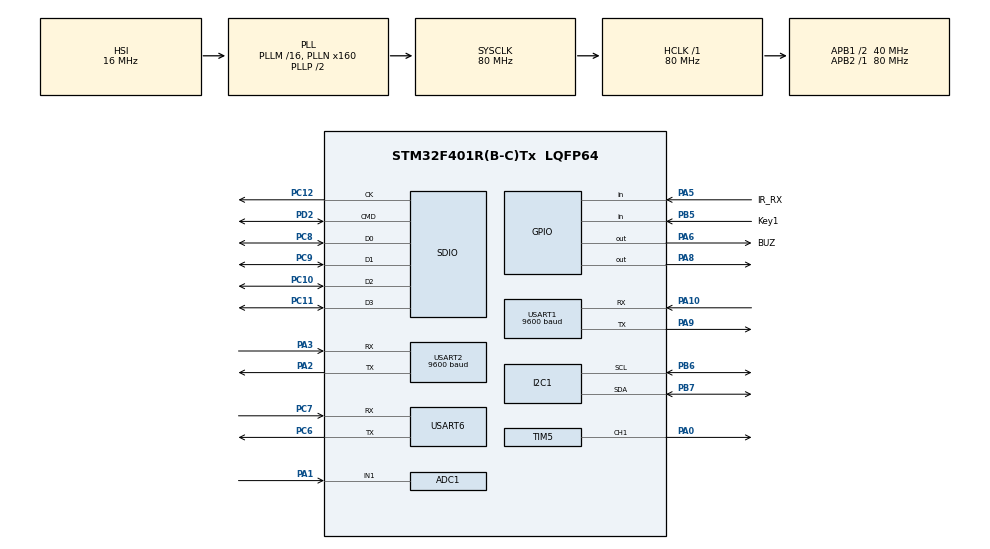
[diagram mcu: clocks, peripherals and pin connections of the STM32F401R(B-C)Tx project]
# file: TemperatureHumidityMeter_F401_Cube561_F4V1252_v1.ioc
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ADC1.Channel-4\#ChannelRegularConversion=ADC_CHANNEL_1
ADC1.Channel-5\#ChannelRegularConversion=ADC_CHANNEL_VREFINT
ADC1.ClockPrescaler=ADC_CLOCK_SYNC_PCLK_DIV8
ADC1.DMAContinuousRequests=ENABLE
ADC1.NbrOfConversion=2
ADC1.NbrOfConversionFlag=1
ADC1.Rank-4\#ChannelRegularConversion=1
ADC1.Rank-5\#ChannelRegularConversion=2
ADC1.SamplingTime-4\#ChannelRegularConversion=ADC_SAMPLETIME_480CYCLES
ADC1.SamplingTime-5\#ChannelRegularConversion=ADC_SAMPLETIME_480CYCLES
ADC1.ScanConvMode=ENABLE
ADC1.master=1
Dma.ADC1.0.Direction=DMA_PERIPH_TO_MEMORY
Dma.ADC1.0.FIFOMode=DMA_FIFOMODE_DISABLE
Dma.ADC1.0.Instance=DMA2_Stream0
Dma.ADC1.0.MemDataAlignment=DMA_MDATAALIGN_WORD
Dma.ADC1.0.MemInc=DMA_MINC_ENABLE
Dma.ADC1.0.Mode=DMA_NORMAL
Dma.ADC1.0.PeriphDataAlignment=DMA_PDATAALIGN_WORD
Dma.ADC1.0.PeriphInc=DMA_PINC_DISABLE
Dma.ADC1.0.Priority=DMA_PRIORITY_LOW
Dma.Request0=ADC1
Dma.Request1=SDIO_RX
Dma.Request2=SDIO_TX
Dma.SDIO_RX.1.Direction=DMA_PERIPH_TO_MEMORY
Dma.SDIO_RX.1.FIFOMode=DMA_FIFOMODE_ENABLE
Dma.SDIO_RX.1.FIFOThreshold=DMA_FIFO_THRESHOLD_FULL
Dma.SDIO_RX.1.Instance=DMA2_Stream3
Dma.SDIO_RX.1.MemBurst=DMA_MBURST_INC4
Dma.SDIO_RX.1.MemDataAlignment=DMA_MDATAALIGN_WORD
Dma.SDIO_RX.1.MemInc=DMA_MINC_ENABLE
Dma.SDIO_RX.1.Mode=DMA_PFCTRL
Dma.SDIO_RX.1.PeriphBurst=DMA_PBURST_INC4
Dma.SDIO_RX.1.PeriphDataAlignment=DMA_PDATAALIGN_WORD
Dma.SDIO_RX.1.PeriphInc=DMA_PINC_DISABLE
Dma.SDIO_RX.1.Priority=DMA_PRIORITY_VERY_HIGH
Dma.SDIO_TX.2.Direction=DMA_MEMORY_TO_PERIPH
Dma.SDIO_TX.2.FIFOMode=DMA_FIFOMODE_ENABLE
Dma.SDIO_TX.2.FIFOThreshold=DMA_FIFO_THRESHOLD_FULL
Dma.SDIO_TX.2.Instance=DMA2_Stream6
Dma.SDIO_TX.2.MemBurst=DMA_MBURST_INC4
Dma.SDIO_TX.2.MemDataAlignment=DMA_MDATAALIGN_WORD
Dma.SDIO_TX.2.MemInc=DMA_MINC_ENABLE
Dma.SDIO_TX.2.Mode=DMA_PFCTRL
Dma.SDIO_TX.2.PeriphBurst=DMA_PBURST_INC4
Dma.SDIO_TX.2.PeriphDataAlignment=DMA_PDATAALIGN_WORD
Dma.SDIO_TX.2.PeriphInc=DMA_PINC_DISABLE
Dma.SDIO_TX.2.Priority=DMA_PRIORITY_VERY_HIGH
Mcu.Family=STM32F4
Mcu.Name=STM32F401R(B-C)Tx
Mcu.Package=LQFP64
NVIC.ADC_IRQn=true\:6\:0\:true\:false\:true\:true\:true
NVIC.DMA2_Stream0_IRQn=true\:5\:0\:true\:false\:true\:false\:true
NVIC.DMA2_Stream3_IRQn=true\:4\:0\:true\:false\:true\:false\:true
NVIC.DMA2_Stream6_IRQn=true\:4\:0\:true\:false\:true\:false\:true
NVIC.PriorityGroup=NVIC_PRIORITYGROUP_4
NVIC.SDIO_IRQn=true\:3\:0\:true\:false\:true\:true\:true
NVIC.TIM1_UP_TIM10_IRQn=true\:7\:0\:true\:false\:true\:true\:true
NVIC.TIM2_IRQn=true\:2\:0\:true\:false\:true\:true\:true
NVIC.USART1_IRQn=true\:5\:0\:true\:false\:true\:true\:true
NVIC.USART2_IRQn=true\:7\:0\:true\:false\:true\:true\:true
NVIC.USART6_IRQn=true\:6\:0\:true\:false\:true\:true\:true
PA0-WKUP.Signal=S_TIM5_CH1
PA1.Signal=ADCx_IN1
PA10.Mode=Asynchronous
PA10.Signal=USART1_RX
PA13.Mode=JTAG_5_pins
PA13.Signal=SYS_JTMS-SWDIO
PA14.Mode=JTAG_5_pins
PA14.Signal=SYS_JTCK-SWCLK
PA15.Mode=JTAG_5_pins
PA15.Signal=SYS_JTDI
PA2.Mode=Asynchronous
PA2.Signal=USART2_TX
PA3.Mode=Asynchronous
PA3.Signal=USART2_RX
PA5.GPIO_Label=IR_RX
PA5.GPIO_PuPd=GPIO_PULLUP
PA5.Signal=GPIO_Input
PA6.GPIO_Label=BUZ
PA6.GPIO_ModeDefaultOutputPP=GPIO_MODE_OUTPUT_PP
PA6.GPIO_PuPd=GPIO_NOPULL
PA6.GPIO_Speed=GPIO_SPEED_FREQ_LOW
PA6.PinState=GPIO_PIN_RESET
PA6.Signal=GPIO_Output
PA8.Signal=GPIO_Output
PA9.Mode=Asynchronous
PA9.Signal=USART1_TX
PB3.Mode=JTAG_5_pins
PB3.Signal=SYS_JTDO-SWO
PB4.Mode=JTAG_5_pins
PB4.Signal=SYS_JTRST
PB5.GPIO_Label=Key1
PB5.GPIO_PuPd=GPIO_PULLUP
PB5.Signal=GPIO_Input
PB6.Mode=I2C
PB6.Signal=I2C1_SCL
PB7.Mode=I2C
PB7.Signal=I2C1_SDA
PC10.Mode=SD_4_bits_Wide_bus
PC10.Signal=SDIO_D2
PC11.Mode=SD_4_bits_Wide_bus
PC11.Signal=SDIO_D3
PC12.Mode=SD_4_bits_Wide_bus
PC12.Signal=SDIO_CK
PC6.Mode=Asynchronous
PC6.Signal=USART6_TX
PC7.Mode=Asynchronous
PC7.Signal=USART6_RX
PC8.Mode=SD_4_bits_Wide_bus
PC8.Signal=SDIO_D0
PC9.Mode=SD_4_bits_Wide_bus
PC9.Signal=SDIO_D1
PD2.Mode=SD_4_bits_Wide_bus
PD2.Signal=SDIO_CMD
PH0\ -\ OSC_IN.Mode=HSE-External-Oscillator
PH0\ -\ OSC_IN.Signal=RCC_OSC_IN
PH1\ -\ OSC_OUT.Mode=HSE-External-Oscillator
PH1\ -\ OSC_OUT.Signal=RCC_OSC_OUT
ProjectManager.HeapSize=0x200
ProjectManager.StackSize=0x400
ProjectManager.TargetToolchain=MDK-ARM V5
RCC.48MHZClocksFreq_Value=40000000
RCC.AHBFreq_Value=80000000
RCC.APB1CLKDivider=RCC_HCLK_DIV2
RCC.APB1Freq_Value=40000000
RCC.APB1TimFreq_Value=80000000
RCC.APB2Freq_Value=80000000
RCC.APB2TimFreq_Value=80000000
RCC.CortexFreq_Value=80000000
RCC.HCLKFreq_Value=80000000
RCC.HSE_VALUE=16000000
RCC.HSI_VALUE=16000000
RCC.LSE_VALUE=32768
RCC.PLLN=160
RCC.SYSCLKFreq_VALUE=80000000
RCC.SYSCLKSource=RCC_SYSCLKSOURCE_PLLCLK
RCC.VCOOutputFreq_Value=160000000
RTC.Format=RTC_FORMAT_BIN
SH.ADCx_IN1.0=ADC1_IN1,IN1
SH.S_TIM5_CH1.0=TIM5_CH1,PWM Generation1 CH1
TIM10.Period=99
TIM10.Prescaler=799
TIM2.Period=19
TIM2.Prescaler=79
TIM5.Channel-PWM\ Generation1\ CH1=TIM_CHANNEL_1
TIM5.Period=25
TIM5.Prescaler=79
TIM5.Pulse-PWM\ Generation1\ CH1=9
USART1.BaudRate=9600
USART1.VirtualMode=VM_ASYNC
USART2.BaudRate=9600
USART2.VirtualMode=VM_ASYNC
USART6.VirtualMode=VM_ASYNC
VP_ADC1_Vref_Input.Mode=IN-Vrefint
VP_RTC_VS_RTC_Activate.Mode=RTC_Enabled
VP_RTC_VS_RTC_Calendar.Mode=RTC_Calendar
VP_TIM10_VS_ClockSourceINT.Mode=Enable_Timer
VP_TIM2_VS_ClockSourceINT.Mode=Internal
VP_TIM5_VS_ClockSourceINT.Mode=Internal
board=custom

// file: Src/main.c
/* USER CODE BEGIN Header */
/**
  ******************************************************************************
  * @file           : main.c
  * @brief          : Main program body
  ******************************************************************************
  * @attention
  *
  * <h2><center>&copy; Copyright (c) 2021 STMicroelectronics.
  * All rights reserved.</center></h2>
  *
  * This software component is licensed by ST under BSD 3-Clause license,
  * the "License"; You may not use this file except in compliance with the
  * License. You may obtain a copy of the License at:
  *                        opensource.org/licenses/BSD-3-Clause
  *
  ******************************************************************************
  */
/* USER CODE END Header */

#include "main.h"
#include "adc.h"
#include "dma.h"
#include "i2c.h"
#include "rtc.h"
#include "sdio.h"
#include "tim.h"
#include "usart.h"
#include "gpio.h"

/* USER CODE BEGIN Includes */
#include "stdio.h"
#include "string.h"
#include "sht30_i2c_drv.h"
#include "tf_sdio_drv.h"
#include "wifi.h"
#include "IR_Rx_drv.h"
#include "IR_Rx_parse.h"
#include "IR_Tx_app.h"
/* USER CODE END Includes */

/* USER CODE BEGIN PTD */
unsigned char myStrnCmp(unsigned char *str1, unsigned char *str2, unsigned long str_len);
unsigned long MySizeof(unsigned char * buff);
extern void IR_RX_Init(void);
/* USER CODE END PTD */

/* USER CODE BEGIN PV */
extern unsigned long Time2_i;
unsigned long Time10_i = 0;
unsigned long Led_i = 0;
unsigned long Print_i = 0;

unsigned char *Usart1DataAdr;
unsigned char Usart1DataLen;
extern unsigned char Usart1RxBuff;
extern UART_IRQ_RX_Handler Usart1Rx;

unsigned char *Usart2DataAdr;
unsigned char Usart2DataLen;
extern unsigned char Usart2RxBuff;
extern UART_IRQ_RX_Handler Usart2Rx;

unsigned char *Usart6DataAdr;
unsigned char Usart6DataLen;
extern unsigned char Usart6RxBuff;
extern UART_IRQ_RX_Handler Usart6Rx;

//ADC variables
extern unsigned long Adc_i;
extern uint32_t Adc1Value[2];
float Adc1N1 = 0;
float Adc1Vre = 0;
unsigned char AdcChr[20] = "ADC";
unsigned char AdcChr1[50] = "ADC";
unsigned char IicChr[20] = "IIC";
unsigned char IicChr1[50] = "IIC";
unsigned char RtcChr[20] = "RTC";
unsigned char RtcChr1[50] = "RTC";
unsigned long AdcChrLen;
unsigned char Adc2ChrFlag = 0;

const unsigned char HeartBeat[7] = {0x55, 0xAA, 0, 0, 0, 0, 0xFF};
const unsigned char HeartBeat_len = 7;

//IIC
extern unsigned long IIc_i;
uint8_t recv_dat[6] = {0};
float temperature = 0.0;
float humidity = 0.0;

//SDIO
extern SD_HandleTypeDef hsd;
HAL_StatusTypeDef test1;
uint8_t mypData[512 *10];
uint8_t mypData1[512 *10];
unsigned long test_i = 0;

unsigned char SdioCase_i;

#define SdCardInfor  "SdCardInfor"
#define SdCardState  "SdCardState"
#define SdCardRead  "SdCardRead"
#define SdCardWrite  "SdCardWrite"
#define SdCardErase  "SdCardErase"

#define IrTxTest  "IrTxTest"
#define PWM_Start "PWM_Start"
#define PWM_Stop "PWM_Stop"

//key
extern KeyF Key1F;

extern unsigned long CurrentTemperature;
extern unsigned long CurrentHumidity;
extern unsigned long BatteryLevel;
extern unsigned char ChargeState;
extern unsigned long TemperatureCycleReport;
extern unsigned long HumidityPeriodicReport;
extern unsigned char SwitchState;
extern unsigned char LedState;

//IR
extern unsigned char IR_RX_Port_en;
extern unsigned short IR_RX_Level_h[];
extern unsigned short IR_RX_Level_l[];
extern unsigned short IR_RX_Level_i;
unsigned short i4;

unsigned char test_parse;
unsigned char test_parse_data[100];
unsigned char test_parse_data_len;

RTCTimeDates myRTCTimeDates;

/* USER CODE END PV */

void SystemClock_Config(void);

int main(void)
{

  /* MCU Configuration--------------------------------------------------------*/

  /* Reset of all peripherals, Initializes the Flash interface and the Systick. */
  HAL_Init();

  /* Configure the system clock */
  SystemClock_Config();

  /* Initialize all configured peripherals */
  MX_GPIO_Init();
  MX_DMA_Init();
  MX_TIM10_Init();
  MX_USART6_UART_Init();
  MX_USART1_UART_Init();
  MX_ADC1_Init();
  MX_I2C1_Init();
  MX_SDIO_SD_Init();
  MX_RTC_Init();
  MX_TIM2_Init();
  MX_TIM5_Init();
  MX_USART2_UART_Init();
  /* USER CODE BEGIN 2 */
	HAL_TIM_Base_Start_IT(&htim10);
	HAL_UART_Receive_IT(&huart6, &Usart6RxBuff, 1);
	HAL_UART_Receive_IT(&huart1, &Usart1RxBuff, 1);
	HAL_UART_Receive_IT(&huart2, &Usart2RxBuff, 1);
	HAL_ADC_Start_DMA(&hadc1, Adc1Value, 2);
	printf("system is run\r\n");
	HAL_TIM_Base_Start_IT(&htim2);

    SHT30_Reset();
    if(SHT30_Init() == HAL_OK)
        printf("sht30 init ok.\n");
    else
        printf("sht30 init fail.\n");

	wifi_protocol_init();
	IR_RX_Init();
	HAL_TIM_PWM_Start(&htim5,TIM_CHANNEL_1);
	HAL_Delay(10);
	HAL_TIM_PWM_Stop(&htim5,TIM_CHANNEL_1);

  /* USER CODE END 2 */

  /* Infinite loop */
  /* USER CODE BEGIN WHILE */
	HAL_GPIO_WritePin(BUZ_GPIO_Port, BUZ_Pin, GPIO_PIN_RESET);
	HAL_Delay(1000);
	for(test_i = 0; test_i < 512 * 10; test_i++)
	{
		mypData[test_i] =  test_i;
	}

	//AirConditioner_ShutDown();

	//__HAL_TIM_SetCompare(&htim5,TIM_CHANNEL_1, 0);

  while (1)
  {
//		if(Led_i >= 250)
//		{
//			Led_i = 0;
//			HAL_GPIO_TogglePin(GPIOA, GPIO_PIN_8);
//		}
//		if(Time2_i >= 25000)
//		{
//			Time2_i = 0;
//			HAL_GPIO_TogglePin(GPIOA, GPIO_PIN_8);
//		}

		switch(mcu_get_wifi_work_state())
		{
				case SMART_CONFIG_STATE:
				{
					if(Led_i >= 250)
					{
						Led_i = 0;						HAL_GPIO_TogglePin(GPIOA, GPIO_PIN_8);
					}
				}//处于 Smart 配置状态，即 LED 快闪
				break;
				case AP_STATE:
				{
					if(Led_i >= 1500)
					{
						Led_i = 0;						HAL_GPIO_TogglePin(GPIOA, GPIO_PIN_8);
					}
				}//处于 AP 配置状态，即 LED 慢闪
				break;
				case WIFI_NOT_CONNECTED:
				{
					if(Led_i >= 250)
					{
						Led_i = 0;						HAL_GPIO_WritePin(GPIOA, GPIO_PIN_8,GPIO_PIN_SET);
					}
				}//Wi-Fi 配置完成，正在连接路由器，即 LED 常暗
				break;
				case WIFI_CONNECTED:
				{
					if(Led_i >= 250)
					{
						Led_i = 0;						HAL_GPIO_WritePin(GPIOA, GPIO_PIN_8,GPIO_PIN_RESET);
					}
				}//路由器连接成功，即 LED 常亮
				break;
				default:break;
		}
		if(Print_i >=5000)
		{
			Print_i = 0;
			printf("Wifi Work State = %d\r\n", mcu_get_wifi_work_state());
			myRTCTimeDates = GetRTC();

			RtcChr1[0] = 't';RtcChr1[1] = '0';RtcChr1[2] = '.';RtcChr1[3] = 't';RtcChr1[4] = 'x';RtcChr1[5] = 't';RtcChr1[6] = '=';
			RtcChr1[7] = '"';
			sprintf((char *)RtcChr, "%d\r\n", myRTCTimeDates.RtcTime.Hours);
			if(myRTCTimeDates.RtcTime.Hours < 10)
			{
				RtcChr1[8] = '0';RtcChr1[9] = RtcChr[0];
			}
			else
			{
				RtcChr1[8] = RtcChr[0];RtcChr1[9] = RtcChr[1];
			}
			RtcChr1[10] = ':';
			sprintf((char *)RtcChr, "%d\r\n", myRTCTimeDates.RtcTime.Minutes);
			if(myRTCTimeDates.RtcTime.Minutes < 10)
			{
				RtcChr1[11] = '0';RtcChr1[12] = RtcChr[0];
			}
			else
			{
				RtcChr1[11] = RtcChr[0];RtcChr1[12] = RtcChr[1];
			}
			RtcChr1[13] = '"';
			RtcChr1[14] = 0xff;RtcChr1[15] = 0xff;RtcChr1[16] = 0xff;
			HAL_UART_Transmit(&huart2, RtcChr1, 17, 1000 );
		}

    /* USER CODE END WHILE */

    /* USER CODE BEGIN 3 */
		/* IR task */
		if(IR_RX_Port_en == 0)
		{
//			printf("i = %d \r\n",IR_RX_Level_i);
//			printf("test_rx_l\r\n");
//			for(i4 = 0; i4 < (IR_RX_Level_i); i4++)
//			{
//				printf("%d,",IR_RX_Level_l[i4] * 20);
//			}
//			printf("\r\ntest_rx_h\r\n");
//			for(i4 = 0; i4 < (IR_RX_Level_i); i4++)
//			{
//				printf("%d,",IR_RX_Level_h[i4] * 20);
//			}

			test_parse = IR_RX_TimeSequence_parse(IR_RX_Level_h, IR_RX_Level_l, IR_RX_Level_i, test_parse_data, &test_parse_data_len);
			printf("\r\nIR RX data error = %d\r\n", test_parse);
			for(i4 = 0; i4 < test_parse_data_len; i4++)
			{
				printf("0x%02x,",test_parse_data[i4]);
			}
			IR_RX_Init();
		}

		/* Usart1 task (WBR3) */
		wifi_uart_service();
		if(Usart1Rx.State == RXend)
		{
			Usart1DataAdr = GetUsart1RxData();
			Usart1DataLen = GetUsart1RxDataLen();
			/* test WBR3 */
			printf("RX fr WBR3:");Uart6Tx_Hex2Char(Usart1DataAdr, Usart1DataLen);

			Usart1Rx.State = Idle;
			Usart1Rx.Enable = ENABLE;
		}/* task end */

		if(Key1F.UpToDownFlag == 1)//按键按下执行的任务
		{
			printf("Key1 UpToDown\r\n");
			mcu_reset_wifi();
			Key1F.UpToDownFlag = 0;
		}
//		if(Key1F.DownToUpFlag == 1)//按键抬起执行的任务
//		{
//			printf("Key1F.DownToUp\r\n");
//			Key1F.DownToUpFlag = 0;
//		}

		/* Usart2 task (DISPLAY) */
		if(Usart2Rx.State == RXend)
		{
			Usart2DataAdr = GetUsart2RxData();
			Usart2DataLen = GetUsart2RxDataLen();

			//HAL_UART_Transmit(&huart2, Usart2DataAdr, Usart2DataLen, 1000 );

			Usart2Rx.State = Idle;
			Usart2Rx.Enable = ENABLE;
		}/* task end */

		/* IIC task (SHT30) */
		if(IIc_i >= 10000)
		{

			IIc_i = 0;
			if(SHT30_Read_Dat(recv_dat) == HAL_OK)
			{
				if(SHT30_Dat_To_Float(recv_dat, &temperature, &humidity)==0)
				{
					CurrentTemperature = (unsigned long)(temperature * 10);
					CurrentHumidity = (unsigned long)humidity;
					//printf("temperature = %f, humidity = %f\n", temperature, humidity);
					//printf("temperature = %ld  humidity = %ld\r\n", CurrentTemperature, CurrentHumidity);
					sprintf((char *)IicChr, "%f\r\n", temperature);
					IicChr1[0] = 't';IicChr1[1] = '1';IicChr1[2] = '.';IicChr1[3] = 't';IicChr1[4] = 'x';IicChr1[5] = 't';IicChr1[6] = '=';
					IicChr1[7] = '"';
					IicChr1[8] = IicChr[0];IicChr1[9] = IicChr[1];IicChr1[10] = IicChr[2];IicChr1[11] = IicChr[3];IicChr1[12] = IicChr[4];
					IicChr1[13] = '"';
					IicChr1[14] = 0xff;IicChr1[15] = 0xff;IicChr1[16] = 0xff;
					HAL_UART_Transmit(&huart2, IicChr1, 17, 1000 );
					sprintf((char *)IicChr, "%f\r\n", humidity);
					IicChr1[0] = 't';IicChr1[1] = '2';IicChr1[2] = '.';IicChr1[3] = 't';IicChr1[4] = 'x';IicChr1[5] = 't';IicChr1[6] = '=';
					IicChr1[7] = '"';
					IicChr1[8] = IicChr[0];IicChr1[9] = IicChr[1];IicChr1[10] = IicChr[2];IicChr1[11] = IicChr[3];IicChr1[12] = IicChr[4];
					IicChr1[13] = '"';
					IicChr1[14] = 0xff;IicChr1[15] = 0xff;IicChr1[16] = 0xff;
					HAL_UART_Transmit(&huart2, IicChr1, 17, 1000 );
				}
				else
				{
					printf("crc check fail.\n");
				}
			}
			else
			{
				printf("read data from sht30 fail.\n");
			}
			all_data_update();
		}/* task end */

		/* ADC task (battery voltage) */
		if(Adc_i >= 10000)
		{
			Adc_i = 0;
			//Adc1N1 = Adc1Value[0] * 3.3 / 4096;
			Adc1N1 = 1.2 * (float)Adc1Value[0] / (float)(Adc1Value[1]+1);
			//printf("Vbat=%f Adc1N1=%f Adc1Vre=%d \r\n", Adc1N1*2, Adc1N1, Adc1Value[1]);
			BatteryLevel = (unsigned long)(Adc1N1 * 2 * 10);
			sprintf((char *)AdcChr, "%f\r\n", Adc1N1*2);
			AdcChr1[0] = 't';AdcChr1[1] = '3';AdcChr1[2] = '.';AdcChr1[3] = 't';AdcChr1[4] = 'x';AdcChr1[5] = 't';AdcChr1[6] = '=';
			AdcChr1[7] = '"';
			AdcChr1[8] = AdcChr[0];AdcChr1[9] = AdcChr[1];AdcChr1[10] = AdcChr[2];AdcChr1[11] = AdcChr[3];
			AdcChr1[12] = '"';
			AdcChr1[13] = 0xff;AdcChr1[14] = 0xff;AdcChr1[15] = 0xff;
			HAL_UART_Transmit(&huart2, AdcChr1, 16, 1000 );

			Adc1Value[0] = 0;
			HAL_ADC_Start_DMA(&hadc1, Adc1Value, 2);
		}/* task end */

		/* Usart6 task (USB) */
		if(Usart6Rx.State == RXend)
		{
			Usart6DataAdr = GetUsart6RxData();
			Usart6DataLen = GetUsart6RxDataLen();
			/* test TFcard */
			if(strncmp((char const*)Usart6DataAdr, SdCardInfor, strlen(SdCardInfor)) == 0)
			{
				PrintSdCard_CID();
				PrintSdCard_RCA();
				PrintSdCard_Type();
				PrintSdCard_Version();
				PrintSdCard_Class();
				PrintSdCard_BlockNbr();
				PrintSdCard_BlockSize();
				PrintSdCard_LogBlockNbr();
				PrintSdCard_LogBlockSize();
			}
			else if(strncmp((char const*)Usart6DataAdr, SdCardState, strlen(SdCardState)) == 0)
			{
				PrintSdio_State();
				PrintSdCard_State();
			}
			else if(strncmp((char const*)Usart6DataAdr, SdCardRead, strlen(SdCardRead)) == 0)
			{
				test1 = HAL_SD_ReadBlocks_DMA(&hsd, mypData1, 0, 5);
				if(test1 == HAL_OK)
				{
					printf("SD Card Read Block OK\r\n");
					Uart6Tx_Hex2Char(mypData1, 512);
				}
				else
				{
					printf("SD Card Read Block ERROR:%d\r\n",test1);
				}
			}
			else if(strncmp((char const*)Usart6DataAdr, SdCardWrite, strlen(SdCardWrite)) == 0)
			{
				test1 = HAL_SD_WriteBlocks_DMA(&hsd, mypData, 0, 5);
				if(test1 == HAL_OK)
				{
					printf("SD Card Write Block OK\r\n");
				}
				else
				{
					printf("SD Card Write Block ERROR:%d\r\n",test1);
				}
			}
			else if(strncmp((char const*)Usart6DataAdr, SdCardErase, strlen(SdCardErase)) == 0)
			{
				test1 = HAL_SD_Erase(&hsd, 0, 7626751);
				/* after SD card Erase, can not write and read SD card */
				if(test1 == HAL_OK)
				{
					printf("SD Card Erase OK\r\n");
				}
				else
				{
					printf("SD Card Erase ERROR:%d\r\n",test1);
				}
			}
			else if(strncmp((char const*)Usart6DataAdr, IrTxTest, strlen(IrTxTest)) == 0)
			{
				AirConditioner_ShutDown();
			}
			else if(strncmp((char const*)Usart6DataAdr, PWM_Start, strlen(PWM_Start)) == 0)
			{
				//HAL_TIM_PWM_Start(&htim5,TIM_CHANNEL_1);
			}
			else if(strncmp((char const*)Usart6DataAdr, PWM_Stop, strlen(PWM_Stop)) == 0)
			{
				//HAL_TIM_PWM_Stop(&htim5,TIM_CHANNEL_1);
			}
			else
			{
				/* test Usart6 */
				HAL_UART_Transmit(&huart6, Usart6DataAdr, Usart6DataLen, 1000 );;printf("\r\n");
			}

			Usart6Rx.State = Idle;
			Usart6Rx.Enable = ENABLE;
		}/* task end */
  }
  /* USER CODE END 3 */
}

void SystemClock_Config(void)
{
  RCC_OscInitTypeDef RCC_OscInitStruct = {0};
  RCC_ClkInitTypeDef RCC_ClkInitStruct = {0};
  RCC_PeriphCLKInitTypeDef PeriphClkInitStruct = {0};

  /** Configure the main internal regulator output voltage
  */
  __HAL_RCC_PWR_CLK_ENABLE();
  __HAL_PWR_VOLTAGESCALING_CONFIG(PWR_REGULATOR_VOLTAGE_SCALE2);
  /** Initializes the CPU, AHB and APB busses clocks
  */
  RCC_OscInitStruct.OscillatorType = RCC_OSCILLATORTYPE_HSI|RCC_OSCILLATORTYPE_LSI;
  RCC_OscInitStruct.HSIState = RCC_HSI_ON;
  RCC_OscInitStruct.HSICalibrationValue = RCC_HSICALIBRATION_DEFAULT;
  RCC_OscInitStruct.LSIState = RCC_LSI_ON;
  RCC_OscInitStruct.PLL.PLLState = RCC_PLL_ON;
  RCC_OscInitStruct.PLL.PLLSource = RCC_PLLSOURCE_HSI;
  RCC_OscInitStruct.PLL.PLLM = 16;
  RCC_OscInitStruct.PLL.PLLN = 160;
  RCC_OscInitStruct.PLL.PLLP = RCC_PLLP_DIV2;
  RCC_OscInitStruct.PLL.PLLQ = 4;
  if (HAL_RCC_OscConfig(&RCC_OscInitStruct) != HAL_OK)
  {
    Error_Handler();
  }
  /** Initializes the CPU, AHB and APB busses clocks
  */
  RCC_ClkInitStruct.ClockType = RCC_CLOCKTYPE_HCLK|RCC_CLOCKTYPE_SYSCLK
                              |RCC_CLOCKTYPE_PCLK1|RCC_CLOCKTYPE_PCLK2;
  RCC_ClkInitStruct.SYSCLKSource = RCC_SYSCLKSOURCE_PLLCLK;
  RCC_ClkInitStruct.AHBCLKDivider = RCC_SYSCLK_DIV1;
  RCC_ClkInitStruct.APB1CLKDivider = RCC_HCLK_DIV2;
  RCC_ClkInitStruct.APB2CLKDivider = RCC_HCLK_DIV1;

  if (HAL_RCC_ClockConfig(&RCC_ClkInitStruct, FLASH_LATENCY_2) != HAL_OK)
  {
    Error_Handler();
  }
  PeriphClkInitStruct.PeriphClockSelection = RCC_PERIPHCLK_RTC;
  PeriphClkInitStruct.RTCClockSelection = RCC_RTCCLKSOURCE_LSI;
  if (HAL_RCCEx_PeriphCLKConfig(&PeriphClkInitStruct) != HAL_OK)
  {
    Error_Handler();
  }
}

/* USER CODE BEGIN 4 */
unsigned char myStrnCmp(unsigned char *str1, unsigned char *str2, unsigned long str_len)
{
	unsigned long i = 0;
	unsigned char cmp;

	for(i = 0; i < str_len; i++)
	{
		if(str1[i] !=  str2[i])
		{
			cmp = 1;
			break;
		}
	}
	if(i == str_len)
	{
		cmp = 0;
	}
	return cmp;
}

unsigned long MySizeof(unsigned char * buff)
{
	unsigned long i = 0;
	while (buff[i] != '\0')
	{
		i++;
	}

	return (i);
}

/* USER CODE END 4 */

void Error_Handler(void)
{
}

/************************ (C) COPYRIGHT STMicroelectronics *****END OF FILE****/
